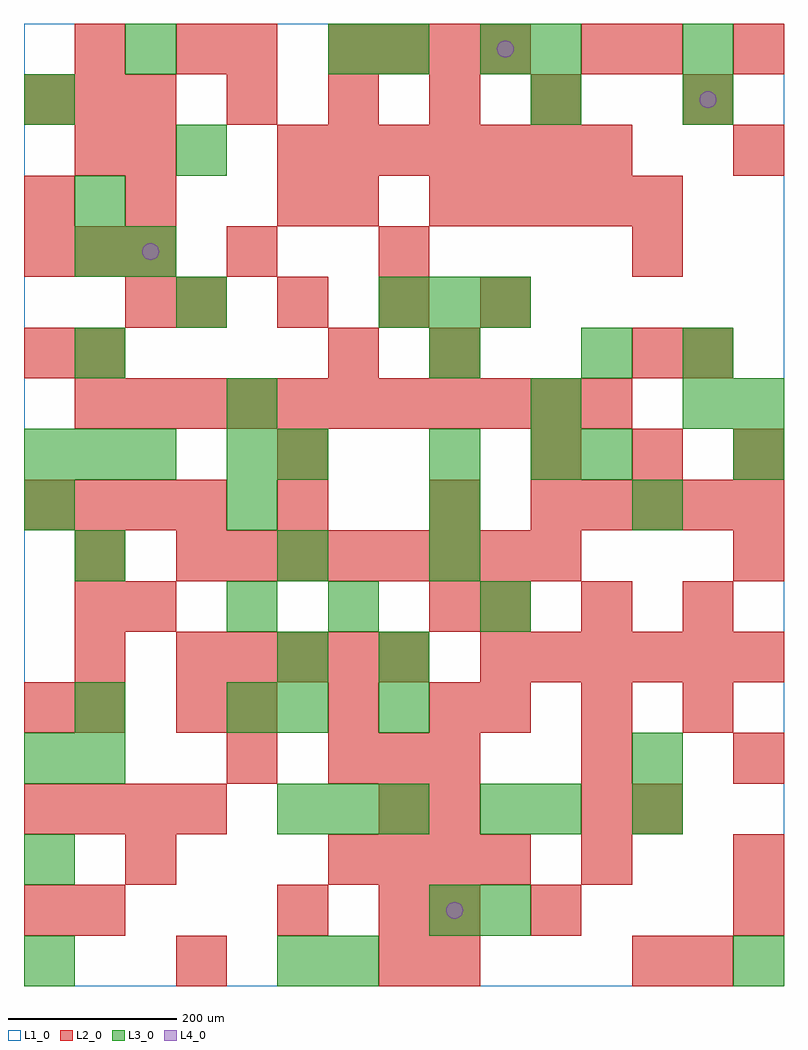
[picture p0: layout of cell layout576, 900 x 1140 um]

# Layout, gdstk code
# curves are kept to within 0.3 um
import gdstk
lib = gdstk.Library(unit=1e-6, precision=1e-09)
def R(c, l, rs):  # rectangles x0, y0, x1, y1
    for r in rs: c.add(gdstk.rectangle(r[:2], r[2:], *l))
def A(c, l, x, y, w, h, nx, ny, dx, dy):  # array of equal rectangles
    R(c, l, [(x+i*dx, y+j*dy, x+i*dx+w, y+j*dy+h) for i in range(nx) for j in range(ny)])
def P(c, l, *ps):  # polygons
    for p in ps: c.add(gdstk.Polygon(p, *l))
L1_0 = (1, 0)
L2_0 = (2, 0)
L3_0 = (3, 0)
L4_0 = (4, 0)

layout576 = lib.new_cell('layout576')
R(layout576, L1_0, [(0,0,900,1140)])
A(layout576, L2_0, 360, 120, 60, 60, 4, 2, 60, 960)
A(layout576, L2_0, 660, 120, 60, 60, 1, 3, 0, 60)
A(layout576, L2_0, 0, 180, 60, 60, 4, 2, 60, 360)
A(layout576, L2_0, 360, 240, 60, 60, 3, 1, 60, 0)
A(layout576, L2_0, 60, 300, 60, 60, 1, 4, 0, 60)
A(layout576, L2_0, 240, 300, 60, 60, 3, 1, 120, 0)
A(layout576, L2_0, 540, 300, 60, 60, 3, 2, 120, 120)
A(layout576, L2_0, 180, 360, 60, 60, 5, 1, 60, 0)
A(layout576, L2_0, 540, 360, 60, 60, 6, 1, 60, 0)
A(layout576, L2_0, 180, 480, 60, 60, 8, 1, 60, 0)
A(layout576, L2_0, 600, 540, 60, 60, 5, 1, 60, 0)
A(layout576, L2_0, 600, 600, 60, 60, 3, 1, 120, 0)
A(layout576, L2_0, 60, 660, 60, 60, 11, 1, 60, 0)
A(layout576, L2_0, 180, 780, 60, 60, 4, 1, 120, 0)
A(layout576, L2_0, 0, 840, 60, 60, 3, 2, 60, 180)
A(layout576, L2_0, 480, 900, 60, 60, 5, 1, 60, 0)
A(layout576, L2_0, 300, 960, 60, 60, 7, 1, 60, 0)
A(layout576, L2_0, 240, 1020, 60, 60, 4, 1, 120, 0)
R(layout576, L2_0, [(180,0,240,60), (420,0,480,60), (480,0,540,60), (720,0,780,60), (780,0,840,60), (0,60,60,120), (60,60,120,120), (300,60,360,120), (420,60,480,120), (480,60,540,120), (600,60,660,120), (840,60,900,120), (120,120,180,180), (840,120,900,180), (420,180,480,240), (480,180,540,240), (720,180,780,240), (240,240,300,300), (840,240,900,300), (0,300,60,360), (180,300,240,360), (120,420,180,480), (480,420,540,480), (840,480,900,540), (300,540,360,600), (480,540,540,600), (300,600,360,660), (0,720,60,780), (60,720,120,780), (360,720,420,780), (480,720,540,780), (720,720,780,780), (780,720,840,780), (120,780,180,840), (240,840,300,900), (420,840,480,900), (720,840,780,900), (0,900,60,960), (120,900,180,960), (300,900,360,960), (360,900,420,960), (60,960,120,1020), (120,960,180,1020), (840,960,900,1020), (780,1020,840,1080), (60,1080,120,1140), (180,1080,240,1140), (240,1080,300,1140), (660,1080,720,1140), (720,1080,780,1140), (840,1080,900,1140)])
A(layout576, L3_0, 0, 0, 60, 60, 1, 3, 0, 120)
A(layout576, L3_0, 300, 180, 60, 60, 3, 1, 60, 0)
A(layout576, L3_0, 300, 360, 60, 60, 1, 3, 0, 120)
A(layout576, L3_0, 480, 480, 60, 60, 1, 3, 0, 120)
A(layout576, L3_0, 0, 540, 60, 60, 4, 1, 240, 0)
A(layout576, L3_0, 0, 600, 60, 60, 3, 1, 60, 0)
A(layout576, L3_0, 420, 780, 60, 60, 3, 1, 60, 0)
R(layout576, L3_0, [(300,0,360,60), (360,0,420,60), (840,0,900,60), (480,60,540,120), (540,60,600,120), (540,180,600,240), (600,180,660,240), (720,180,780,240), (60,240,120,300), (720,240,780,300), (60,300,120,360), (240,300,300,360), (300,300,360,360), (420,300,480,360), (420,360,480,420), (240,420,300,480), (360,420,420,480), (540,420,600,480), (60,480,120,540), (240,600,300,660), (600,600,660,660), (660,600,720,660), (840,600,900,660), (240,660,300,720), (600,660,660,720), (780,660,840,720), (840,660,900,720), (60,720,120,780), (660,720,720,780), (780,720,840,780), (180,780,240,840), (60,840,120,900), (120,840,180,900), (60,900,120,960), (180,960,240,1020), (0,1020,60,1080), (600,1020,660,1080), (780,1020,840,1080), (120,1080,180,1140), (360,1080,420,1140), (420,1080,480,1140), (540,1080,600,1140), (600,1080,660,1140), (780,1080,840,1140)])
P(layout576, L4_0, [(160,870),(159.239,873.827),(157.071,877.071),(153.827,879.239),(150,880),(146.173,879.239),(142.929,877.071),(140.761,873.827),(140,870),(140.761,866.173),(142.929,862.929),(146.173,860.761),(150,860),(153.827,860.761),(157.071,862.929),(159.239,866.173)],
  [(520,90),(519.239,93.827),(517.071,97.071),(513.827,99.239),(510,100),(506.173,99.239),(502.929,97.071),(500.761,93.827),(500,90),(500.761,86.173),(502.929,82.929),(506.173,80.761),(510,80),(513.827,80.761),(517.071,82.929),(519.239,86.173)],
  [(580,1110),(579.239,1113.827),(577.071,1117.071),(573.827,1119.239),(570,1120),(566.173,1119.239),(562.929,1117.071),(560.761,1113.827),(560,1110),(560.761,1106.173),(562.929,1102.929),(566.173,1100.761),(570,1100),(573.827,1100.761),(577.071,1102.929),(579.239,1106.173)],
  [(820,1050),(819.239,1053.827),(817.071,1057.071),(813.827,1059.239),(810,1060),(806.173,1059.239),(802.929,1057.071),(800.761,1053.827),(800,1050),(800.761,1046.173),(802.929,1042.929),(806.173,1040.761),(810,1040),(813.827,1040.761),(817.071,1042.929),(819.239,1046.173)])

lib.write_gds('layout576.gds')
